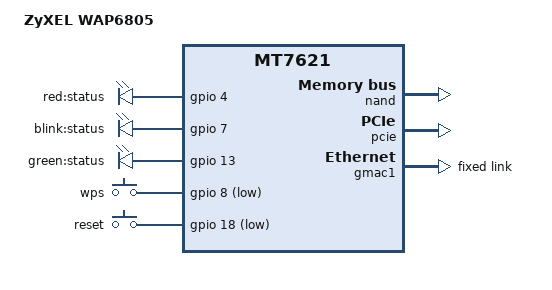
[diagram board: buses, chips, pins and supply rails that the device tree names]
// SPDX-License-Identifier: GPL-2.0-or-later OR MIT

#include "mt7621.dtsi"

#include <dt-bindings/gpio/gpio.h>
#include <dt-bindings/input/input.h>

/ {
	compatible = "zyxel,wap6805", "mediatek,mt7621-soc";
	model = "ZyXEL WAP6805";

	aliases {
		led-boot = &led_status_green;
		led-failsafe = &led_status_red;
		led-running = &led_status_green;
		led-upgrade = &led_status_green;
		label-mac-device = &gmac0;
	};

	leds {
		compatible = "gpio-leds";

		led_status_red: status_red {
			label = "red:status";
			gpios = <&gpio 4 GPIO_ACTIVE_HIGH>;
		};

		status_blink {
			label = "blink:status";
			gpios = <&gpio 7 GPIO_ACTIVE_HIGH>;
		};

		led_status_green: status_green {
			label = "green:status";
			gpios = <&gpio 13 GPIO_ACTIVE_HIGH>;
		};
	};

	keys {
		compatible = "gpio-keys";

		wps {
			label = "wps";
			gpios = <&gpio 8 GPIO_ACTIVE_LOW>;
			linux,code = <KEY_WPS_BUTTON>;
		};

		reset {
			label = "reset";
			gpios = <&gpio 18 GPIO_ACTIVE_LOW>;
			linux,code = <KEY_RESTART>;
		};
	};
};

&nand {
	status = "okay";

	partitions {
		compatible = "fixed-partitions";
		#address-cells = <1>;
		#size-cells = <1>;

		partition@0 {
			label = "Bootloader";
			reg = <0x0 0x100000>;
			read-only;
		};

		partition@100000 {
			label = "MRD";
			reg = <0x100000 0x100000>;
			read-only;
		};

		factory: partition@200000 {
			label = "Factory";
			reg = <0x200000 0x100000>;
			read-only;
		};

		partition@300000 {
			label = "Config";
			reg = <0x300000 0x100000>;
		};

		partition@400000 {
			label = "Kernel";
			reg = <0x400000 0x2000000>;
		};

		partition@800000 {
			label = "ubi";
			reg = <0x800000 0x1c00000>;
		};

		partition@2400000 {
			label = "Kernel2";
			reg = <0x2400000 0x2000000>;
		};

		partition@4400000 {
			label = "Private";
			reg = <0x4400000 0x100000>;
		};

		partition@4500000 {
			label = "Log";
			reg = <0x4500000 0x1000000>;
		};

		partition@5500000 {
			label = "App";
			reg = <0x5500000 0x2b00000>;
		};
	};
};

&pcie {
	status = "okay";
};

&pcie0 {
	mt76@0,0 {
		reg = <0x0000 0 0 0 0>;
		mediatek,mtd-eeprom = <&factory 0x0>;
	};
};

&gmac0 {
	nvmem-cells = <&macaddr_factory_e000>;
	nvmem-cell-names = "mac-address";
};

&gmac1 {
	status = "okay";

	fixed-link {
		speed = <1000>;
		full-duplex;
	};
};

&switch0 {
	ports {
		port@0 {
			status = "okay";
			label = "lan4";
		};
		port@1 {
			status = "okay";
			label = "lan3";
		};
		port@2 {
			status = "okay";
			label = "lan2";
		};
		port@3 {
			status = "okay";
			label = "lan1";
		};
	};
};

&xhci {
	status = "disabled";
};

&state_default {
	gpio {
		groups = "i2c", "uart3", "jtag", "wdt";
		function = "gpio";
	};
};

&factory {
	compatible = "nvmem-cells";
	#address-cells = <1>;
	#size-cells = <1>;

	macaddr_factory_e000: macaddr@e000 {
		reg = <0xe000 0x6>;
	};
};
